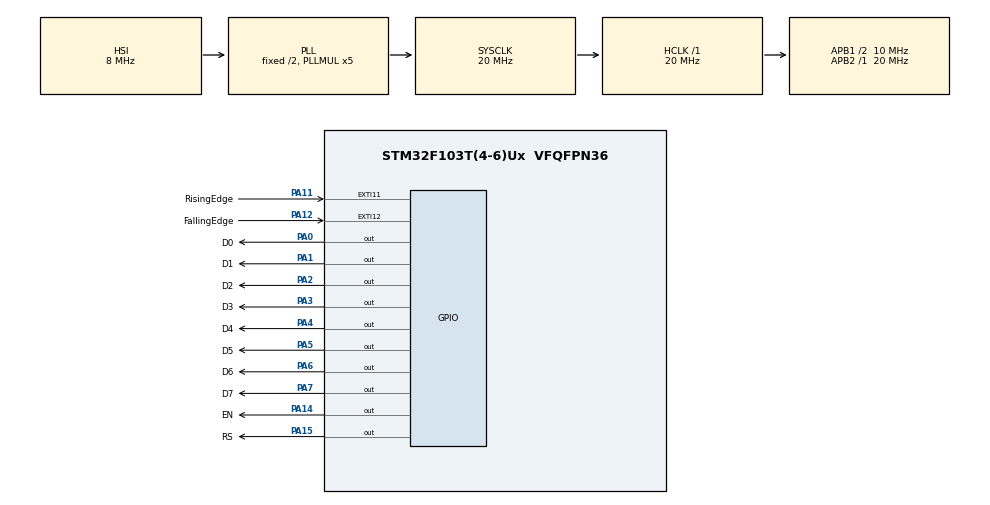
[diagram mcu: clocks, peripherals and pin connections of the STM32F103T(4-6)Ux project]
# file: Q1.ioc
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Mcu.Family=STM32F1
Mcu.Name=STM32F103T(4-6)Ux
Mcu.Package=VFQFPN36
NVIC.EXTI15_10_IRQn=true\:0\:0\:false\:false\:true\:true\:true\:true
NVIC.PriorityGroup=NVIC_PRIORITYGROUP_4
PA0-WKUP.GPIO_Label=D0
PA0-WKUP.Signal=GPIO_Output
PA1.GPIO_Label=D1
PA1.Signal=GPIO_Output
PA11.GPIO_Label=RisingEdge
PA11.GPIO_ModeDefaultEXTI=GPIO_MODE_IT_RISING
PA11.Signal=GPXTI11
PA12.GPIO_Label=FallingEdge
PA12.GPIO_ModeDefaultEXTI=GPIO_MODE_IT_FALLING
PA12.Signal=GPXTI12
PA14.GPIO_Label=EN
PA14.Signal=GPIO_Output
PA15.GPIO_Label=RS
PA15.Signal=GPIO_Output
PA2.GPIO_Label=D2
PA2.Signal=GPIO_Output
PA3.GPIO_Label=D3
PA3.Signal=GPIO_Output
PA4.GPIO_Label=D4
PA4.Signal=GPIO_Output
PA5.GPIO_Label=D5
PA5.Signal=GPIO_Output
PA6.GPIO_Label=D6
PA6.Signal=GPIO_Output
PA7.GPIO_Label=D7
PA7.Signal=GPIO_Output
ProjectManager.HeapSize=0x200
ProjectManager.StackSize=0x400
ProjectManager.TargetToolchain=STM32CubeIDE
RCC.AHBFreq_Value=20000000
RCC.APB1CLKDivider=RCC_HCLK_DIV2
RCC.APB1Freq_Value=10000000
RCC.APB1TimFreq_Value=20000000
RCC.APB2Freq_Value=20000000
RCC.APB2TimFreq_Value=20000000
RCC.HCLKFreq_Value=20000000
RCC.PLLMUL=RCC_PLL_MUL5
RCC.SYSCLKFreq_VALUE=20000000
RCC.SYSCLKSource=RCC_SYSCLKSOURCE_PLLCLK
RCC.USBFreq_Value=20000000
TIM2.Period=65535-1
TIM2.Prescaler=19
VP_SYS_VS_ND.Mode=No_Debug
VP_TIM2_VS_ClockSourceINT.Mode=Internal
board=custom

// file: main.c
/* USER CODE BEGIN Header */
/**
  ******************************************************************************
  * @file           : main.c
  * @brief          : Main program body
  ******************************************************************************
  * @attention
  *
  * Copyright (c) 2022 STMicroelectronics.
  * All rights reserved.
  *
  * This software is licensed under terms that can be found in the LICENSE file
  * in the root directory of this software component.
  * If no LICENSE file comes with this software, it is provided AS-IS.
  *
  ******************************************************************************
  */
/* USER CODE END Header */
#include "main.h"

/* USER CODE BEGIN Includes */
#include "lcd.h"
/* USER CODE END Includes */

 TIM_HandleTypeDef htim2;

/* USER CODE BEGIN PV */
uint16_t Echo = 0;
/* USER CODE END PV */

void SystemClock_Config(void);
static void MX_GPIO_Init(void);
static void MX_TIM2_Init(void);

int main(void)
{

  /* MCU Configuration--------------------------------------------------------*/

  /* Reset of all peripherals, Initializes the Flash interface and the Systick. */
  HAL_Init();

  /* Configure the system clock */
  SystemClock_Config();

  /* Initialize all configured peripherals */
  MX_GPIO_Init();
  MX_TIM2_Init();
  /* USER CODE BEGIN 2 */
	HAL_TIM_Base_Start(&htim2);
    Lcd_PortType ports[]={D0_GPIO_Port, D1_GPIO_Port, D2_GPIO_Port, D3_GPIO_Port, D4_GPIO_Port, D5_GPIO_Port, D6_GPIO_Port, D7_GPIO_Port};
	Lcd_PinType pins[]={D0_Pin, D1_Pin, D2_Pin, D3_Pin, D4_Pin, D5_Pin, D6_Pin, D7_Pin};
	Lcd_HandleTypeDef lcd = Lcd_create(ports, pins, RS_GPIO_Port, RS_Pin, EN_GPIO_Port, EN_Pin, LCD_8_BIT_MODE);

  /* USER CODE END 2 */

  /* Infinite loop */
  /* USER CODE BEGIN WHILE */
    int is_echo = 0;
    uint16_t t1;
    uint16_t t2;
    uint16_t dt;
    float distance;
  while (1)
  {
	  if (Echo == 1 && is_echo == 0)
	  {
		  	  is_echo = 1; //finding length of a cycle
			  t1 = __HAL_TIM_GET_COUNTER(&htim2);  //rising edge time
	  }
	  if (Echo == 0 && is_echo == 1)
	  {
		  	  is_echo = 0;
			  t2 = __HAL_TIM_GET_COUNTER(&htim2); //falling edge time
			  dt = (t2 - t1)/2; // length of a cycle
			  distance = (0.03447 * dt) + 0.006703;

			  Lcd_clear(&lcd);
			  Lcd_cursor(&lcd, 0, 0);
			  Lcd_float(&lcd, dt);
			  Lcd_cursor(&lcd, 1, 0);
			  Lcd_float(&lcd, distance);
	  }
    /* USER CODE END WHILE */

  }
}

void SystemClock_Config(void)
{
  RCC_OscInitTypeDef RCC_OscInitStruct = {0};
  RCC_ClkInitTypeDef RCC_ClkInitStruct = {0};

  /** Initializes the RCC Oscillators according to the specified parameters
  * in the RCC_OscInitTypeDef structure.
  */
  RCC_OscInitStruct.OscillatorType = RCC_OSCILLATORTYPE_HSI;
  RCC_OscInitStruct.HSIState = RCC_HSI_ON;
  RCC_OscInitStruct.HSICalibrationValue = RCC_HSICALIBRATION_DEFAULT;
  RCC_OscInitStruct.PLL.PLLState = RCC_PLL_ON;
  RCC_OscInitStruct.PLL.PLLSource = RCC_PLLSOURCE_HSI_DIV2;
  RCC_OscInitStruct.PLL.PLLMUL = RCC_PLL_MUL5;
  if (HAL_RCC_OscConfig(&RCC_OscInitStruct) != HAL_OK)
  {
    Error_Handler();
  }

  /** Initializes the CPU, AHB and APB buses clocks
  */
  RCC_ClkInitStruct.ClockType = RCC_CLOCKTYPE_HCLK|RCC_CLOCKTYPE_SYSCLK
                              |RCC_CLOCKTYPE_PCLK1|RCC_CLOCKTYPE_PCLK2;
  RCC_ClkInitStruct.SYSCLKSource = RCC_SYSCLKSOURCE_PLLCLK;
  RCC_ClkInitStruct.AHBCLKDivider = RCC_SYSCLK_DIV1;
  RCC_ClkInitStruct.APB1CLKDivider = RCC_HCLK_DIV2;
  RCC_ClkInitStruct.APB2CLKDivider = RCC_HCLK_DIV1;

  if (HAL_RCC_ClockConfig(&RCC_ClkInitStruct, FLASH_LATENCY_0) != HAL_OK)
  {
    Error_Handler();
  }
}

static void MX_TIM2_Init(void)
{

  TIM_ClockConfigTypeDef sClockSourceConfig = {0};
  TIM_MasterConfigTypeDef sMasterConfig = {0};

  htim2.Instance = TIM2;
  htim2.Init.Prescaler = 19;
  htim2.Init.CounterMode = TIM_COUNTERMODE_UP;
  htim2.Init.Period = 65535-1;
  htim2.Init.ClockDivision = TIM_CLOCKDIVISION_DIV1;
  htim2.Init.AutoReloadPreload = TIM_AUTORELOAD_PRELOAD_DISABLE;
  if (HAL_TIM_Base_Init(&htim2) != HAL_OK)
  {
    Error_Handler();
  }
  sClockSourceConfig.ClockSource = TIM_CLOCKSOURCE_INTERNAL;
  if (HAL_TIM_ConfigClockSource(&htim2, &sClockSourceConfig) != HAL_OK)
  {
    Error_Handler();
  }
  sMasterConfig.MasterOutputTrigger = TIM_TRGO_RESET;
  sMasterConfig.MasterSlaveMode = TIM_MASTERSLAVEMODE_DISABLE;
  if (HAL_TIMEx_MasterConfigSynchronization(&htim2, &sMasterConfig) != HAL_OK)
  {
    Error_Handler();
  }

}

static void MX_GPIO_Init(void)
{
  GPIO_InitTypeDef GPIO_InitStruct = {0};

  /* GPIO Ports Clock Enable */
  __HAL_RCC_GPIOA_CLK_ENABLE();

  /*Configure GPIO pin Output Level */
  HAL_GPIO_WritePin(GPIOA, D0_Pin|D1_Pin|D2_Pin|D3_Pin
                          |D4_Pin|D5_Pin|D6_Pin|D7_Pin
                          |EN_Pin|RS_Pin, GPIO_PIN_RESET);

  /*Configure GPIO pins : D0_Pin D1_Pin D2_Pin D3_Pin
                           D4_Pin D5_Pin D6_Pin D7_Pin
                           EN_Pin RS_Pin */
  GPIO_InitStruct.Pin = D0_Pin|D1_Pin|D2_Pin|D3_Pin
                          |D4_Pin|D5_Pin|D6_Pin|D7_Pin
                          |EN_Pin|RS_Pin;
  GPIO_InitStruct.Mode = GPIO_MODE_OUTPUT_PP;
  GPIO_InitStruct.Pull = GPIO_NOPULL;
  GPIO_InitStruct.Speed = GPIO_SPEED_FREQ_LOW;
  HAL_GPIO_Init(GPIOA, &GPIO_InitStruct);

  /*Configure GPIO pin : RisingEdge_Pin */
  GPIO_InitStruct.Pin = RisingEdge_Pin;
  GPIO_InitStruct.Mode = GPIO_MODE_IT_RISING;
  GPIO_InitStruct.Pull = GPIO_NOPULL;
  HAL_GPIO_Init(RisingEdge_GPIO_Port, &GPIO_InitStruct);

  /*Configure GPIO pin : FallingEdge_Pin */
  GPIO_InitStruct.Pin = FallingEdge_Pin;
  GPIO_InitStruct.Mode = GPIO_MODE_IT_FALLING;
  GPIO_InitStruct.Pull = GPIO_NOPULL;
  HAL_GPIO_Init(FallingEdge_GPIO_Port, &GPIO_InitStruct);

  /* EXTI interrupt init*/
  HAL_NVIC_SetPriority(EXTI15_10_IRQn, 0, 0);
  HAL_NVIC_EnableIRQ(EXTI15_10_IRQn);

}

/* USER CODE BEGIN 4 */
void HAL_GPIO_EXTI_Callback(uint16_t GPIO_Pin)
{
    if (GPIO_Pin == FallingEdge_Pin) //when echo finishes
    	Echo = 0;
    if (GPIO_Pin == RisingEdge_Pin) //when we first detect a echo
    	Echo = 1;

}
/* USER CODE END 4 */

void Error_Handler(void)
{
  __disable_irq();
  while (1)
  {
  }
}
